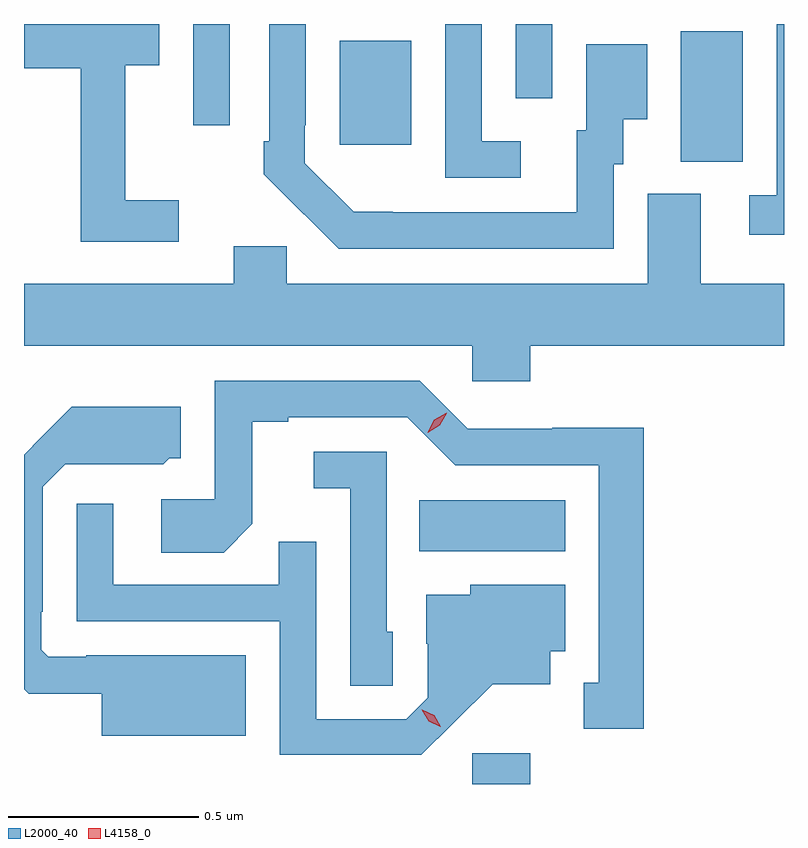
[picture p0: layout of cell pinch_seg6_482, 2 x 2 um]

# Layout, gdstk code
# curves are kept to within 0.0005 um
import gdstk
lib = gdstk.Library(unit=1e-6, precision=1e-09)
def R(c, l, rs):  # rectangles x0, y0, x1, y1
    for r in rs: c.add(gdstk.rectangle(r[:2], r[2:], *l))
def P(c, l, *ps):  # polygons
    for p in ps: c.add(gdstk.Polygon(p, *l))
L2000_40 = (2000, 40)
L4158_0 = (4158, 0)

pinch_seg6_482 = lib.new_cell('pinch_seg6_482')
R(pinch_seg6_482, L2000_40, [(759.996,916.879,760.148,916.96), (759.856,917.492,760.24,917.626), (760.544,918.517,760.708,918.86), (759.647,918.561,759.835,918.835), (759.261,918.612,759.357,918.879), (760.11,918.684,760.206,918.879)])
P(pinch_seg6_482, L2000_40, [(760.368,918.51),(760.393,918.51),(760.393,918.629),(760.456,918.629),(760.456,918.826),(760.295,918.826),(760.295,918.6),(760.271,918.6),(760.271,918.384),(759.787,918.384),(759.787,918.385),(759.684,918.385),(759.555,918.513),(759.555,918.613),(759.558,918.613),(759.558,918.879),(759.462,918.879),(759.462,918.571),(759.447,918.571),(759.447,918.483),(759.552,918.378),(759.553,918.379),(759.644,918.288),(760.368,918.288)],
  [(760.816,918.879),(760.797,918.879),(760.797,918.429),(760.725,918.429),(760.725,918.324),(760.816,918.324)],
  [(759.223,918.415),(759.083,918.415),(759.083,918.77),(759.172,918.77),(759.172,918.879),(758.816,918.879),(758.816,918.763),(758.965,918.763),(758.965,918.306),(759.223,918.306)],
  [(760.123,918.57),(760.02,918.57),(760.02,918.879),(759.924,918.879),(759.924,918.474),(760.123,918.474)],
  [(760.148,918.032),(760.816,918.032),(760.816,918.196),(760.597,918.196),(760.597,918.432),(760.457,918.432),(760.457,918.196),(759.507,918.196),(759.507,918.294),(759.368,918.294),(759.368,918.196),(758.816,918.196),(758.816,918.032),(759.996,918.032),(759.996,917.939),(760.148,917.939)],
  [(760.447,917.816),(760.206,917.816),(760.206,917.814),(759.984,917.814),(759.858,917.94),(759.318,917.94),(759.318,917.628),(759.177,917.628),(759.177,917.488),(759.341,917.488),(759.417,917.564),(759.417,917.832),(759.511,917.832),(759.511,917.844),(759.825,917.844),(759.951,917.718),(760.328,917.718),(760.328,917.145),(760.289,917.145),(760.289,917.025),(760.447,917.025)],
  [(759.4,917.218),(758.98,917.218),(758.98,917.214),(758.88,917.214),(758.862,917.232),(758.862,917.332),(758.865,917.332),(758.865,917.661),(758.925,917.721),(759.048,917.721),(759.048,917.72),(759.182,917.72),(759.198,917.736),(759.229,917.736),(759.229,917.872),(758.941,917.872),(758.816,917.746),(758.816,917.129),(758.828,917.117),(759.02,917.117),(759.02,917.006),(759.4,917.006)],
  [(759.786,917.28),(759.771,917.28),(759.771,917.754),(759.579,917.754),(759.579,917.657),(759.675,917.657),(759.675,917.137),(759.786,917.137)],
  [(759.946,917.039),(760.049,917.141),(760.201,917.141),(760.201,917.228),(760.24,917.228),(760.24,917.404),(759.99,917.404),(759.99,917.377),(759.875,917.377),(759.875,917.248),(759.879,917.248),(759.879,917.106),(759.822,917.049),(759.585,917.049),(759.585,917.516),(759.487,917.516),(759.487,917.403),(759.051,917.403),(759.051,917.617),(758.955,917.617),(758.955,917.307),(759.489,917.307),(759.489,916.956),(759.862,916.956)])
P(pinch_seg6_482, L4158_0, [(759.912,917.03),(759.881,917.044),(759.863,917.074),(759.863,917.074),(759.864,917.074),(759.895,917.06),(759.913,917.03),(759.913,917.03)],
  [(759.878,917.804),(759.878,917.805),(759.896,917.837),(759.928,917.856),(759.928,917.856),(759.928,917.855),(759.91,917.823),(759.878,917.804)])

lib.write_gds('pinch_seg6_482.gds')
